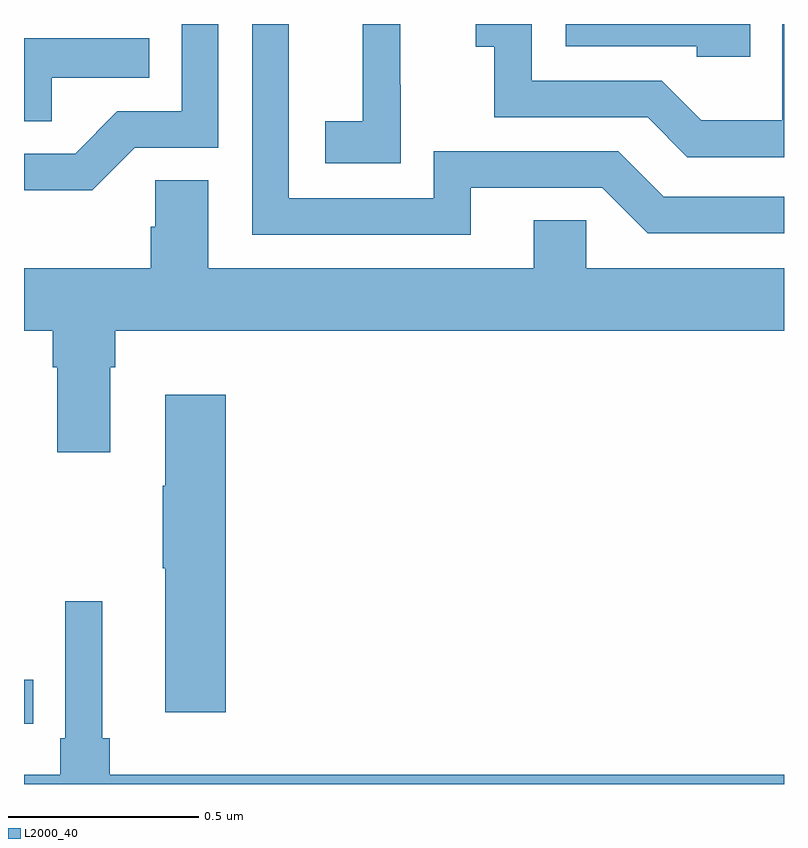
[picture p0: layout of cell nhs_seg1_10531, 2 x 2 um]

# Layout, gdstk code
import gdstk
lib = gdstk.Library(unit=1e-6, precision=1e-09)
def R(c, l, rs):  # rectangles x0, y0, x1, y1
    for r in rs: c.add(gdstk.rectangle(r[:2], r[2:], *l))
def P(c, l, *ps):  # polygons
    for p in ps: c.add(gdstk.Polygon(p, *l))
L2000_40 = (2000, 40)

nhs_seg1_10531 = lib.new_cell('nhs_seg1_10531')
R(nhs_seg1_10531, L2000_40, [(242,557.358,242.024,557.474)])
P(nhs_seg1_10531, L2000_40, [(244,559.199),(243.996,559.199),(243.996,558.946),(243.782,558.946),(243.678,559.05),(243.336,559.05),(243.336,559.199),(243.189,559.199),(243.189,559.139),(243.238,559.139),(243.238,558.954),(243.641,558.954),(243.746,558.849),(244,558.849)],
  [(243.175,558.768),(243.522,558.768),(243.642,558.648),(244,558.648),(244,558.744),(243.684,558.744),(243.564,558.864),(243.078,558.864),(243.078,558.741),(242.697,558.741),(242.697,559.199),(242.601,559.199),(242.601,558.645),(243.175,558.645)],
  [(242.991,559.039),(242.99,559.039),(242.99,559.199),(242.892,559.199),(242.892,559.172),(242.891,559.172),(242.891,558.943),(242.793,558.943),(242.793,558.833),(242.991,558.833)],
  [(243.911,559.199),(243.426,559.199),(243.426,559.14),(243.771,559.14),(243.771,559.113),(243.911,559.113)],
  [(242.292,558.873),(242.511,558.873),(242.511,559.199),(242.415,559.199),(242.415,558.969),(242.246,558.969),(242.135,558.858),(242.001,558.858),(242.001,558.761),(242.179,558.761)],
  [(242.073,559.058),(242.33,559.058),(242.33,559.162),(242,559.162),(242,558.943),(242.073,558.943)],
  [(242.227,558.296),(242.24,558.296),(242.24,558.392),(244,558.392),(244,558.556),(243.48,558.556),(243.48,558.683),(243.341,558.683),(243.341,558.556),(242.485,558.556),(242.485,558.788),(242.346,558.788),(242.346,558.665),(242.333,558.665),(242.333,558.556),(242,558.556),(242,558.392),(242.075,558.392),(242.075,558.296),(242.087,558.296),(242.087,558.072),(242.227,558.072)],
  [(242.531,558.223),(242.372,558.223),(242.372,557.984),(242.365,557.984),(242.365,557.767),(242.372,557.767),(242.372,557.388),(242.531,557.388)],
  [(244,557.224),(242.225,557.224),(242.225,557.32),(242.206,557.32),(242.206,557.68),(242.109,557.68),(242.109,557.32),(242.096,557.32),(242.096,557.224),(242,557.224),(242,557.199),(244,557.199)])

lib.write_gds('nhs_seg1_10531.gds')
